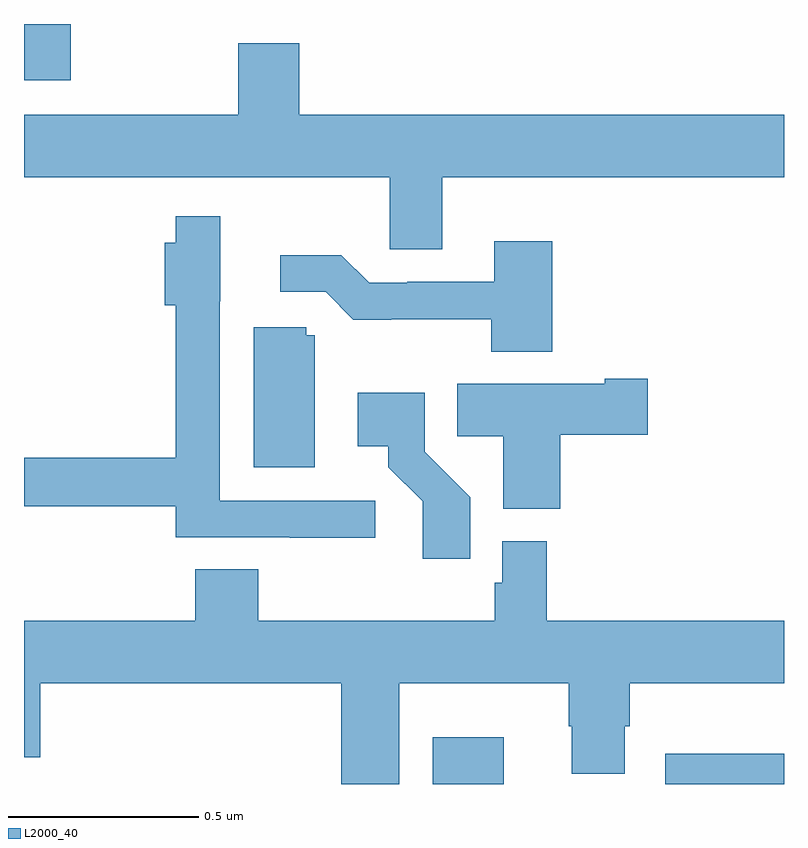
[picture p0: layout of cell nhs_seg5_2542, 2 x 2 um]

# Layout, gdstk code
import gdstk
lib = gdstk.Library(unit=1e-6, precision=1e-09)
def R(c, l, rs):  # rectangles x0, y0, x1, y1
    for r in rs: c.add(gdstk.rectangle(r[:2], r[2:], *l))
def P(c, l, *ps):  # polygons
    for p in ps: c.add(gdstk.Polygon(p, *l))
L2000_40 = (2000, 40)

nhs_seg5_2542 = lib.new_cell('nhs_seg5_2542')
R(nhs_seg5_2542, L2000_40, [(146.075,885.799,146.263,885.922), (146.688,885.799,147,885.878), (145,887.651,145.123,887.799)])
P(nhs_seg5_2542, L2000_40, [(146.101,887.396),(147,887.396),(147,887.56),(145.724,887.56),(145.724,887.749),(145.564,887.749),(145.564,887.56),(145,887.56),(145,887.396),(145.962,887.396),(145.962,887.206),(146.101,887.206)],
  [(145.924,886.545),(145.515,886.545),(145.515,887.07),(145.516,887.07),(145.516,887.293),(145.399,887.293),(145.399,887.224),(145.37,887.224),(145.37,887.059),(145.399,887.059),(145.399,886.658),(145,886.658),(145,886.53),(145.399,886.53),(145.399,886.449),(145.699,886.449),(145.699,886.447),(145.924,886.447)],
  [(146.39,887.227),(146.237,887.227),(146.237,887.121),(146.008,887.121),(146.008,887.118),(145.908,887.118),(145.835,887.191),(145.674,887.191),(145.674,887.094),(145.794,887.094),(145.867,887.021),(145.966,887.021),(145.966,887.022),(146.23,887.022),(146.23,886.937),(146.39,886.937)],
  [(145.765,886.98),(145.743,886.98),(145.743,887.001),(145.604,887.001),(145.604,886.632),(145.765,886.632)],
  [(146.411,886.718),(146.641,886.718),(146.641,886.865),(146.528,886.865),(146.528,886.852),(146.14,886.852),(146.14,886.714),(146.261,886.714),(146.261,886.523),(146.411,886.523)],
  [(146.174,886.554),(146.055,886.673),(146.055,886.828),(145.878,886.828),(145.878,886.688),(145.958,886.688),(145.958,886.633),(146.049,886.543),(146.049,886.392),(146.174,886.392)],
  [(145.987,886.064),(146.434,886.064),(146.434,885.951),(146.441,885.951),(146.441,885.826),(146.581,885.826),(146.581,885.951),(146.594,885.951),(146.594,886.064),(147,886.064),(147,886.228),(146.375,886.228),(146.375,886.438),(146.259,886.438),(146.259,886.329),(146.239,886.329),(146.239,886.228),(145.616,886.228),(145.616,886.364),(145.451,886.364),(145.451,886.228),(145,886.228),(145,885.87),(145.043,885.87),(145.043,886.064),(145.835,886.064),(145.835,885.799),(145.987,885.799)])

lib.write_gds('nhs_seg5_2542.gds')
